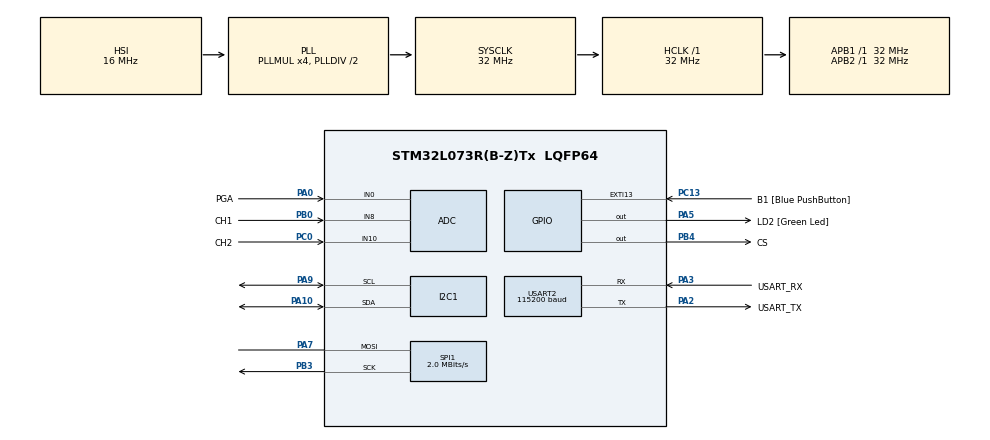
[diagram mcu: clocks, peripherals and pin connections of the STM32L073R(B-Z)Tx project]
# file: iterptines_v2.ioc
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ADC.DMAContinuousRequests=ENABLE
ADC.EOCSelection=ADC_EOC_SEQ_CONV
ADC.ExternalTrigConv=ADC_EXTERNALTRIGCONV_T2_TRGO
ADC.SamplingTime=ADC_SAMPLETIME_7CYCLES_5
Dma.ADC.0.Direction=DMA_PERIPH_TO_MEMORY
Dma.ADC.0.Instance=DMA1_Channel1
Dma.ADC.0.MemDataAlignment=DMA_MDATAALIGN_HALFWORD
Dma.ADC.0.MemInc=DMA_MINC_ENABLE
Dma.ADC.0.Mode=DMA_CIRCULAR
Dma.ADC.0.PeriphDataAlignment=DMA_PDATAALIGN_HALFWORD
Dma.ADC.0.PeriphInc=DMA_PINC_DISABLE
Dma.ADC.0.Priority=DMA_PRIORITY_LOW
Dma.Request0=ADC
I2C1.Timing=0x00B07CB4
Mcu.Family=STM32L0
Mcu.Name=STM32L073R(B-Z)Tx
Mcu.Package=LQFP64
NVIC.DMA1_Channel1_IRQn=true\:0\:0\:false\:false\:true\:false\:true\:true
NVIC.SPI1_IRQn=true\:0\:0\:false\:false\:true\:true\:true\:true
NVIC.TIM2_IRQn=true\:0\:0\:false\:false\:true\:true\:true\:true
NVIC.USART2_IRQn=true\:0\:0\:false\:false\:true\:true\:true\:true
PA0.GPIO_Label=PGA
PA0.Mode=IN0
PA0.Signal=ADC_IN0
PA10.Mode=I2C
PA10.Signal=I2C1_SDA
PA13.GPIO_Label=TMS
PA13.Mode=Serial_Wire
PA13.Signal=SYS_SWDIO
PA14.GPIO_Label=TCK
PA14.Mode=Serial_Wire
PA14.Signal=SYS_SWCLK
PA2.GPIO_Label=USART_TX
PA2.Mode=Asynchronous
PA2.Signal=USART2_TX
PA3.GPIO_Label=USART_RX
PA3.Mode=Asynchronous
PA3.Signal=USART2_RX
PA5.GPIO_Label=LD2 [Green Led]
PA5.Signal=GPIO_Output
PA7.Mode=Simplex_Bidirectional_Master
PA7.Signal=SPI1_MOSI
PA9.Mode=I2C
PA9.Signal=I2C1_SCL
PB0.GPIO_Label=CH1
PB0.Mode=IN8
PB0.Signal=ADC_IN8
PB3.Mode=Simplex_Bidirectional_Master
PB3.Signal=SPI1_SCK
PB4.GPIO_Label=CS
PB4.Signal=GPIO_Output
PC0.GPIO_Label=CH2
PC0.Mode=IN10
PC0.Signal=ADC_IN10
PC13.GPIO_Label=B1 [Blue PushButton]
PC13.GPIO_ModeDefaultEXTI=GPIO_MODE_IT_FALLING
PC13.Signal=GPXTI13
PC14-OSC32_IN.Signal=RCC_OSC32_IN
PC15-OSC32_OUT.Signal=RCC_OSC32_OUT
PH0-OSC_IN.GPIO_Label=MCO
PH0-OSC_IN.Signal=RCC_OSC_IN
ProjectManager.HeapSize=0x200
ProjectManager.StackSize=0x400
ProjectManager.TargetToolchain=STM32CubeIDE
RCC.AHBFreq_Value=32000000
RCC.APB1Freq_Value=32000000
RCC.APB1TimFreq_Value=32000000
RCC.APB2Freq_Value=32000000
RCC.APB2TimFreq_Value=32000000
RCC.HCLKFreq_Value=32000000
RCC.HSE_VALUE=8000000
RCC.HSI16_VALUE=16000000
RCC.HSI48_VALUE=48000000
RCC.HSI_VALUE=16000000
RCC.LSE_VALUE=32768
RCC.MSI_VALUE=2097000
RCC.PLLMUL=RCC_PLLMUL_4
RCC.SYSCLKFreq_VALUE=32000000
RCC.SYSCLKSource=RCC_SYSCLKSOURCE_PLLCLK
RCC.VCOOutputFreq_Value=64000000
SPI1.BaudRatePrescaler=SPI_BAUDRATEPRESCALER_16
SPI1.CalculateBaudRate=2.0 MBits/s
SPI1.DataSize=SPI_DATASIZE_16BIT
SPI1.Direction=SPI_DIRECTION_1LINE
SPI1.Mode=SPI_MODE_MASTER
SPI1.VirtualType=VM_MASTER
TIM2.AutoReloadPreload=TIM_AUTORELOAD_PRELOAD_ENABLE
TIM2.Prescaler=1
TIM2.TIM_MasterOutputTrigger=TIM_TRGO_UPDATE
USART2.BaudRate=115200
USART2.VirtualMode-Asynchronous=VM_ASYNC
VP_TIM2_VS_ClockSourceINT.Mode=Internal
board=NUCLEO-L073RZ

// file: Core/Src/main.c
/* USER CODE BEGIN Header */
/**
  ******************************************************************************
  * @file           : main.c
  * @brief          : Main program body
  ******************************************************************************
  */
/* USER CODE END Header */
#include "main.h"

/* USER CODE BEGIN Includes */
#include "ssd1306.h"
#include "ssd1306_fonts.h"
#include <stdio.h>
#include <string.h>
#include <stdlib.h>
/* USER CODE END Includes */

/* USER CODE BEGIN PD */
#define SAMPLES     50
#define CHANNELS    3
#define VDD         3.21f
#define COEF        374917UL
#define R_SENSOR    4700.0f

#define AGC_LOW     410U    /* ~10 % skales – stiprinamas labiau   */
#define AGC_HIGH    3686U   /* ~90 % skales – stiprinamas mažiau   */

static const float gain_table[8] = {
    1.0f, 2.0f, 4.0f, 5.0f, 8.0f, 10.0f, 16.0f, 32.0f
};
/* USER CODE END PD */

ADC_HandleTypeDef hadc;
DMA_HandleTypeDef hdma_adc;

I2C_HandleTypeDef hi2c1;

SPI_HandleTypeDef hspi1;

TIM_HandleTypeDef htim2;

UART_HandleTypeDef huart2;

/* USER CODE BEGIN PV */

volatile uint16_t adc[CHANNELS * SAMPLES];

float vidurkis_ev1 = 0.0f;   /* apsviestumo kanalas 1 [lx]  */
float vidurkis_ev2 = 0.0f;   /* apsviestumo kanalas 2 [lx]  */
float skirtumas    = 0.0f;   /* ev1 - ev2 [lx]              */
float vidurkis_u1  = 0.0f;   /* itampos kanalas 1 [V]       */
float vidurkis_u2  = 0.0f;   /* itampos kanalas 2 [V]       */

float calib1 = 11.0f;
float calib2 = 11.0f;

volatile uint8_t adc_full      = 0;
volatile uint8_t uart_ready    = 1;
volatile uint8_t uart_received = 0;

typedef enum {
    UART_STATE_IDLE = 0,
    UART_STATE_WAIT_C1,
    UART_STATE_WAIT_C2
} UartState;
volatile UartState uart_state = UART_STATE_IDLE;

char tx[80];
char rx[20];
char string_display[22];

static uint8_t pga_active_ch = 0;   /* 0 = U1, 1 = U2 */

static uint8_t gain_idx_u1 = 0;   /* pradzia: 1x */
static uint8_t gain_idx_u2 = 0;   /* pradzia: 1x */

/* --- AGC: praleisti N ciklu po kanalo perjungimo ---
       > 0  = dar laukiame stabilizacijos (MCP6S22 isejimas dar nestabilizavosi)
       = 0  = duomenys galioja                                                   */
static uint8_t pga_skip_cycle = 0;

/* --- UART ciklo skaitliukas:
       uart_cycle = 0..4  -> apsviestumo eilute  (~200 ms x 5 = ~1 s)
       uart_cycle = 5     -> itampos eilute       (~1.2 s), tada reset i 0      */
static uint8_t uart_cycle = 0;

/* USER CODE END PV */

void SystemClock_Config(void);
static void MX_GPIO_Init(void);
static void MX_DMA_Init(void);
static void MX_USART2_UART_Init(void);
static void MX_I2C1_Init(void);
static void MX_SPI1_Init(void);
static void MX_ADC_Init(void);
static void MX_TIM2_Init(void);
/* USER CODE BEGIN PFP */
static void PGA_SetChannel(uint8_t ch);
static void PGA_SetGain(uint8_t gain_idx);
static void Display_Update(void);
static void UART_SendLight(void);
static void UART_SendVoltage(void);
/* USER CODE END PFP */

/* USER CODE BEGIN 0 */

static void PGA_SetChannel(uint8_t ch)
{
    uint16_t cmd = ((uint16_t)0x41 << 8) | (ch & 0x07);
    HAL_GPIO_WritePin(CS_GPIO_Port, CS_Pin, GPIO_PIN_RESET);
    HAL_SPI_Transmit(&hspi1, (uint8_t *)&cmd, 1, 10);
    HAL_GPIO_WritePin(CS_GPIO_Port, CS_Pin, GPIO_PIN_SET);
}

static void PGA_SetGain(uint8_t gain_idx)
{
    uint16_t cmd = ((uint16_t)0x40 << 8) | (gain_idx & 0x07);
    HAL_GPIO_WritePin(CS_GPIO_Port, CS_Pin, GPIO_PIN_RESET);
    HAL_SPI_Transmit(&hspi1, (uint8_t *)&cmd, 1, 10);
    HAL_GPIO_WritePin(CS_GPIO_Port, CS_Pin, GPIO_PIN_SET);
}

/**
 * @brief  Atnaujina OLED ekrana.
 */
static void Display_Update(void)
{
    ssd1306_Fill(Black);

    ssd1306_SetCursor(0, 0);
    snprintf(string_display, sizeof(string_display), "Ev1 = %7.1f lx", vidurkis_ev1);
    ssd1306_WriteString(string_display, Font_6x8, White);

    ssd1306_SetCursor(0, 11);
    snprintf(string_display, sizeof(string_display), "Ev2 = %7.1f lx", vidurkis_ev2);
    ssd1306_WriteString(string_display, Font_6x8, White);

    ssd1306_SetCursor(0, 22);
    snprintf(string_display, sizeof(string_display), "dEv = %7.1f lx", skirtumas);
    ssd1306_WriteString(string_display, Font_6x8, White);

    ssd1306_SetCursor(0, 33);
    snprintf(string_display, sizeof(string_display), "U1  = %7.2f V ", vidurkis_u1);
    ssd1306_WriteString(string_display, Font_6x8, White);

    ssd1306_SetCursor(0, 44);
    snprintf(string_display, sizeof(string_display), "U2  = %7.2f V ", vidurkis_u2);
    ssd1306_WriteString(string_display, Font_6x8, White);

    ssd1306_UpdateScreen();
}

/**
 * @brief  Siuncia apsviestumo duomenis per UART (kas ~0.2 s).
 *         Viena eilute: Ev1, Ev2, dEv.
 */
static void UART_SendLight(void)
{
    if (!uart_ready) return;
    uart_ready = 0;
    int len = snprintf(tx, sizeof(tx),
        "Ev1 = %.1f lx, Ev2 = %.1f lx, dEv = %.1f lx\r\n",
        vidurkis_ev1, vidurkis_ev2, skirtumas);
    HAL_UART_Transmit_IT(&huart2, (uint8_t *)tx, (uint16_t)len);
}

/**
 * @brief  Siuncia itampos duomenis per UART (kas ~1.2 s).
 *         Viena eilute: U1, U2.
 */
static void UART_SendVoltage(void)
{
    if (!uart_ready) return;
    uart_ready = 0;
    int len = snprintf(tx, sizeof(tx),
        "                                                    U1 = %.2f V,  U2 = %.2f V\r\n",
        vidurkis_u1, vidurkis_u2);
    HAL_UART_Transmit_IT(&huart2, (uint8_t *)tx, (uint16_t)len);
}

/* USER CODE END 0 */

int main(void)
{

  /* MCU Configuration--------------------------------------------------------*/

  /* Reset of all peripherals, Initializes the Flash interface and the Systick. */
  HAL_Init();

  /* Configure the system clock */
  SystemClock_Config();

  /* Initialize all configured peripherals */
  MX_GPIO_Init();
  MX_DMA_Init();
  MX_USART2_UART_Init();
  MX_I2C1_Init();
  MX_SPI1_Init();
  MX_ADC_Init();
  MX_TIM2_Init();
  /* USER CODE BEGIN 2 */

    HAL_GPIO_WritePin(CS_GPIO_Port, CS_Pin, GPIO_PIN_SET);

    /* MCP6S22 pradine konfiguracija: kanalas 0 (U1), stiprinimas 1x.*/
    PGA_SetGain(0);
    PGA_SetChannel(0);
    pga_active_ch  = 0;
    pga_skip_cycle = 2;   /* Leisti stabilizuotis po pradines konfiguracijos */

    if (HAL_ADCEx_Calibration_Start(&hadc, ADC_SINGLE_ENDED) != HAL_OK)
        Error_Handler();

    HAL_ADC_Start_DMA(&hadc, (uint32_t *)adc, SAMPLES * CHANNELS);
    HAL_TIM_Base_Start(&htim2);

    ssd1306_Init();
    ssd1306_Fill(Black);
    ssd1306_SetCursor(10, 24);
    ssd1306_WriteString("Duomenys", Font_7x10, White);
    ssd1306_SetCursor(10, 36);
    ssd1306_WriteString("renkami...", Font_7x10, White);
    ssd1306_UpdateScreen();

    HAL_UART_Receive_IT(&huart2, (uint8_t *)rx, 6);

  /* USER CODE END 2 */

  /* Infinite loop */
  /* USER CODE BEGIN WHILE */

    uint32_t tick_display = 0;

    while (1)
    {
        if (uart_received)
        {
            uart_received = 0;

            switch (uart_state)
            {
                case UART_STATE_IDLE:
                {
                    if (strncmp(rx, "config", 6) == 0)
                    {
                        uart_state = UART_STATE_WAIT_C1;
                        const char *prompt =
                            "\r\nIveskite Ev1 kalibravimo koeficienta (2 skaitmenys, pvz. 15):\r\n";
                        HAL_UART_Transmit(&huart2, (uint8_t *)prompt,
                                          (uint16_t)strlen(prompt), 200);
                        HAL_UART_Receive_IT(&huart2, (uint8_t *)rx, 2);
                    }
                    else
                    {
                        memset(rx, 0, sizeof(rx));
                        HAL_UART_Receive_IT(&huart2, (uint8_t *)rx, 6);
                    }
                    break;
                }

                case UART_STATE_WAIT_C1:
                {
                    int val = 0;
                    if (rx[0] >= '0' && rx[0] <= '9' &&
                        rx[1] >= '0' && rx[1] <= '9')
                    {
                        val = (rx[0] - '0') * 10 + (rx[1] - '0');
                        calib1 = (float)val;
                    }
                    uart_state = UART_STATE_WAIT_C2;
                    const char *prompt2 =
                        "\r\nIveskite Ev2 kalibravimo koeficienta (2 skaitmenys):\r\n";
                    HAL_UART_Transmit(&huart2, (uint8_t *)prompt2,
                                      (uint16_t)strlen(prompt2), 200);
                    HAL_UART_Receive_IT(&huart2, (uint8_t *)rx, 2);
                    break;
                }

                case UART_STATE_WAIT_C2:
                {
                    int val = 0;
                    if (rx[0] >= '0' && rx[0] <= '9' &&
                        rx[1] >= '0' && rx[1] <= '9')
                    {
                        val = (rx[0] - '0') * 10 + (rx[1] - '0');
                        calib2 = (float)val;
                    }
                    uart_state = UART_STATE_IDLE;
                    const char *done =
                        "\r\nKalibracija atlikta. Tesiamas matavimas.\r\n\r\n";
                    HAL_UART_Transmit(&huart2, (uint8_t *)done,
                                      (uint16_t)strlen(done), 200);
                    memset(rx, 0, sizeof(rx));
                    HAL_UART_Receive_IT(&huart2, (uint8_t *)rx, 6);
                    break;
                }

                default:
                    uart_state = UART_STATE_IDLE;
                    HAL_UART_Receive_IT(&huart2, (uint8_t *)rx, 6);
                    break;
            }
        }

        if (adc_full)
        {
            adc_full = 0;

            uint32_t suma_ev1 = 0, suma_ev2 = 0;
            for (int i = 0; i < SAMPLES * CHANNELS; i += 3)
            {
                suma_ev1 += adc[i + 1];
                suma_ev2 += adc[i + 2];
            }
            float avg_ev1_raw = (float)suma_ev1 / SAMPLES;
            float avg_ev2_raw = (float)suma_ev2 / SAMPLES;

            vidurkis_ev1 = (avg_ev1_raw * VDD / 4095.0f) / R_SENSOR * (float)COEF * calib1;
            vidurkis_ev2 = (avg_ev2_raw * VDD / 4095.0f) / R_SENSOR * (float)COEF * calib2;
            skirtumas    = vidurkis_ev1 - vidurkis_ev2;

            const float VOLTAGE_DIV = 7.788f;

            uint32_t suma_u = 0;
            for (int i = 0; i < SAMPLES * CHANNELS; i += 3)
                suma_u += adc[i];

            uint32_t avg_u_raw = suma_u / SAMPLES;

            if (pga_skip_cycle > 0)
            {
                /* Stabilizacijos laukimas */
                pga_skip_cycle--;
            }
            else
            {
                uint8_t *p_gain = (pga_active_ch == 0) ? &gain_idx_u1 : &gain_idx_u2;
                uint8_t gain_changed = 0;

                if (avg_u_raw < AGC_LOW && *p_gain < 7)
                {
                    (*p_gain)++;
                    gain_changed = 1;
                }
                else if (avg_u_raw > AGC_HIGH && *p_gain > 0)
                {
                    (*p_gain)--;
                    gain_changed = 1;
                }

                if (gain_changed)
                {
                    /* Stiprinimas pasikeite – reikia 1 ciklo stabilizacijai.
                       Šio ciklo rezultato neissaugome. */
                    PGA_SetGain(*p_gain);
                    pga_skip_cycle = 1;
                }
                else
                {
                    float v_adc  = (float)avg_u_raw * VDD / 4095.0f;
                    float v_real = (v_adc / gain_table[*p_gain]) * VOLTAGE_DIV;

                    if (pga_active_ch == 0)
                        vidurkis_u1 = v_real;
                    else
                        vidurkis_u2 = v_real;

                    pga_active_ch ^= 1;
                    PGA_SetGain((pga_active_ch == 0) ? gain_idx_u1 : gain_idx_u2);
                    PGA_SetChannel(pga_active_ch);
                    pga_skip_cycle = 2;
                }
            }

            if (uart_state == UART_STATE_IDLE)
            {
                if (uart_cycle < 5)
                {
                    UART_SendLight();
                    uart_cycle++;
                }
                else
                {
                    UART_SendVoltage();
                    uart_cycle = 0;
                }
            }
        }

        if ((HAL_GetTick() - tick_display) >= 2000UL)
        {
            tick_display = HAL_GetTick();
            Display_Update();
        }

    /* USER CODE END WHILE */

    }
}

void SystemClock_Config(void)
{
  RCC_OscInitTypeDef RCC_OscInitStruct = {0};
  RCC_ClkInitTypeDef RCC_ClkInitStruct = {0};
  RCC_PeriphCLKInitTypeDef PeriphClkInit = {0};

  /** Configure the main internal regulator output voltage
  */
  __HAL_PWR_VOLTAGESCALING_CONFIG(PWR_REGULATOR_VOLTAGE_SCALE1);

  /** Initializes the RCC Oscillators according to the specified parameters
  * in the RCC_OscInitTypeDef structure.
  */
  RCC_OscInitStruct.OscillatorType = RCC_OSCILLATORTYPE_HSI;
  RCC_OscInitStruct.HSIState = RCC_HSI_ON;
  RCC_OscInitStruct.HSICalibrationValue = RCC_HSICALIBRATION_DEFAULT;
  RCC_OscInitStruct.PLL.PLLState = RCC_PLL_ON;
  RCC_OscInitStruct.PLL.PLLSource = RCC_PLLSOURCE_HSI;
  RCC_OscInitStruct.PLL.PLLMUL = RCC_PLLMUL_4;
  RCC_OscInitStruct.PLL.PLLDIV = RCC_PLLDIV_2;
  if (HAL_RCC_OscConfig(&RCC_OscInitStruct) != HAL_OK)
  {
    Error_Handler();
  }

  /** Initializes the CPU, AHB and APB buses clocks
  */
  RCC_ClkInitStruct.ClockType = RCC_CLOCKTYPE_HCLK|RCC_CLOCKTYPE_SYSCLK
                              |RCC_CLOCKTYPE_PCLK1|RCC_CLOCKTYPE_PCLK2;
  RCC_ClkInitStruct.SYSCLKSource = RCC_SYSCLKSOURCE_PLLCLK;
  RCC_ClkInitStruct.AHBCLKDivider = RCC_SYSCLK_DIV1;
  RCC_ClkInitStruct.APB1CLKDivider = RCC_HCLK_DIV1;
  RCC_ClkInitStruct.APB2CLKDivider = RCC_HCLK_DIV1;

  if (HAL_RCC_ClockConfig(&RCC_ClkInitStruct, FLASH_LATENCY_1) != HAL_OK)
  {
    Error_Handler();
  }
  PeriphClkInit.PeriphClockSelection = RCC_PERIPHCLK_USART2|RCC_PERIPHCLK_I2C1;
  PeriphClkInit.Usart2ClockSelection = RCC_USART2CLKSOURCE_PCLK1;
  PeriphClkInit.I2c1ClockSelection = RCC_I2C1CLKSOURCE_PCLK1;
  if (HAL_RCCEx_PeriphCLKConfig(&PeriphClkInit) != HAL_OK)
  {
    Error_Handler();
  }
}

static void MX_ADC_Init(void)
{

  ADC_ChannelConfTypeDef sConfig = {0};

  /** Configure the global features of the ADC (Clock, Resolution, Data Alignment and number of conversion)
  */
  hadc.Instance = ADC1;
  hadc.Init.OversamplingMode = DISABLE;
  hadc.Init.ClockPrescaler = ADC_CLOCK_SYNC_PCLK_DIV2;
  hadc.Init.Resolution = ADC_RESOLUTION_12B;
  hadc.Init.SamplingTime = ADC_SAMPLETIME_7CYCLES_5;
  hadc.Init.ScanConvMode = ADC_SCAN_DIRECTION_FORWARD;
  hadc.Init.DataAlign = ADC_DATAALIGN_RIGHT;
  hadc.Init.ContinuousConvMode = DISABLE;
  hadc.Init.DiscontinuousConvMode = DISABLE;
  hadc.Init.ExternalTrigConvEdge = ADC_EXTERNALTRIGCONVEDGE_RISING;
  hadc.Init.ExternalTrigConv = ADC_EXTERNALTRIGCONV_T2_TRGO;
  hadc.Init.DMAContinuousRequests = ENABLE;
  hadc.Init.EOCSelection = ADC_EOC_SEQ_CONV;
  hadc.Init.Overrun = ADC_OVR_DATA_PRESERVED;
  hadc.Init.LowPowerAutoWait = DISABLE;
  hadc.Init.LowPowerFrequencyMode = DISABLE;
  hadc.Init.LowPowerAutoPowerOff = DISABLE;
  if (HAL_ADC_Init(&hadc) != HAL_OK)
  {
    Error_Handler();
  }

  /** Configure for the selected ADC regular channel to be converted.
  */
  sConfig.Channel = ADC_CHANNEL_0;
  sConfig.Rank = ADC_RANK_CHANNEL_NUMBER;
  if (HAL_ADC_ConfigChannel(&hadc, &sConfig) != HAL_OK)
  {
    Error_Handler();
  }

  /** Configure for the selected ADC regular channel to be converted.
  */
  sConfig.Channel = ADC_CHANNEL_8;
  if (HAL_ADC_ConfigChannel(&hadc, &sConfig) != HAL_OK)
  {
    Error_Handler();
  }

  /** Configure for the selected ADC regular channel to be converted.
  */
  sConfig.Channel = ADC_CHANNEL_10;
  if (HAL_ADC_ConfigChannel(&hadc, &sConfig) != HAL_OK)
  {
    Error_Handler();
  }

}

static void MX_I2C1_Init(void)
{

  hi2c1.Instance = I2C1;
  hi2c1.Init.Timing = 0x00B07CB4;
  hi2c1.Init.OwnAddress1 = 0;
  hi2c1.Init.AddressingMode = I2C_ADDRESSINGMODE_7BIT;
  hi2c1.Init.DualAddressMode = I2C_DUALADDRESS_DISABLE;
  hi2c1.Init.OwnAddress2 = 0;
  hi2c1.Init.OwnAddress2Masks = I2C_OA2_NOMASK;
  hi2c1.Init.GeneralCallMode = I2C_GENERALCALL_DISABLE;
  hi2c1.Init.NoStretchMode = I2C_NOSTRETCH_DISABLE;
  if (HAL_I2C_Init(&hi2c1) != HAL_OK)
  {
    Error_Handler();
  }

  /** Configure Analogue filter
  */
  if (HAL_I2CEx_ConfigAnalogFilter(&hi2c1, I2C_ANALOGFILTER_ENABLE) != HAL_OK)
  {
    Error_Handler();
  }

  /** Configure Digital filter
  */
  if (HAL_I2CEx_ConfigDigitalFilter(&hi2c1, 0) != HAL_OK)
  {
    Error_Handler();
  }

}

static void MX_SPI1_Init(void)
{

  /* SPI1 parameter configuration*/
  hspi1.Instance = SPI1;
  hspi1.Init.Mode = SPI_MODE_MASTER;
  hspi1.Init.Direction = SPI_DIRECTION_1LINE;
  hspi1.Init.DataSize = SPI_DATASIZE_16BIT;
  hspi1.Init.CLKPolarity = SPI_POLARITY_LOW;
  hspi1.Init.CLKPhase = SPI_PHASE_1EDGE;
  hspi1.Init.NSS = SPI_NSS_SOFT;
  hspi1.Init.BaudRatePrescaler = SPI_BAUDRATEPRESCALER_16;
  hspi1.Init.FirstBit = SPI_FIRSTBIT_MSB;
  hspi1.Init.TIMode = SPI_TIMODE_DISABLE;
  hspi1.Init.CRCCalculation = SPI_CRCCALCULATION_DISABLE;
  hspi1.Init.CRCPolynomial = 7;
  if (HAL_SPI_Init(&hspi1) != HAL_OK)
  {
    Error_Handler();
  }

}

static void MX_TIM2_Init(void)
{

  TIM_ClockConfigTypeDef sClockSourceConfig = {0};
  TIM_MasterConfigTypeDef sMasterConfig = {0};

  htim2.Instance = TIM2;
  htim2.Init.Prescaler = 1;
  htim2.Init.CounterMode = TIM_COUNTERMODE_UP;
  htim2.Init.Period = 65535;
  htim2.Init.ClockDivision = TIM_CLOCKDIVISION_DIV1;
  htim2.Init.AutoReloadPreload = TIM_AUTORELOAD_PRELOAD_ENABLE;
  if (HAL_TIM_Base_Init(&htim2) != HAL_OK)
  {
    Error_Handler();
  }
  sClockSourceConfig.ClockSource = TIM_CLOCKSOURCE_INTERNAL;
  if (HAL_TIM_ConfigClockSource(&htim2, &sClockSourceConfig) != HAL_OK)
  {
    Error_Handler();
  }
  sMasterConfig.MasterOutputTrigger = TIM_TRGO_UPDATE;
  sMasterConfig.MasterSlaveMode = TIM_MASTERSLAVEMODE_DISABLE;
  if (HAL_TIMEx_MasterConfigSynchronization(&htim2, &sMasterConfig) != HAL_OK)
  {
    Error_Handler();
  }

}

static void MX_USART2_UART_Init(void)
{

  huart2.Instance = USART2;
  huart2.Init.BaudRate = 115200;
  huart2.Init.WordLength = UART_WORDLENGTH_8B;
  huart2.Init.StopBits = UART_STOPBITS_1;
  huart2.Init.Parity = UART_PARITY_NONE;
  huart2.Init.Mode = UART_MODE_TX_RX;
  huart2.Init.HwFlowCtl = UART_HWCONTROL_NONE;
  huart2.Init.OverSampling = UART_OVERSAMPLING_16;
  huart2.Init.OneBitSampling = UART_ONE_BIT_SAMPLE_DISABLE;
  huart2.AdvancedInit.AdvFeatureInit = UART_ADVFEATURE_NO_INIT;
  if (HAL_UART_Init(&huart2) != HAL_OK)
  {
    Error_Handler();
  }

}

static void MX_DMA_Init(void)
{

  /* DMA controller clock enable */
  __HAL_RCC_DMA1_CLK_ENABLE();

  /* DMA interrupt init */
  /* DMA1_Channel1_IRQn interrupt configuration */
  HAL_NVIC_SetPriority(DMA1_Channel1_IRQn, 0, 0);
  HAL_NVIC_EnableIRQ(DMA1_Channel1_IRQn);

}

static void MX_GPIO_Init(void)
{
  GPIO_InitTypeDef GPIO_InitStruct = {0};

  /* GPIO Ports Clock Enable */
  __HAL_RCC_GPIOC_CLK_ENABLE();
  __HAL_RCC_GPIOH_CLK_ENABLE();
  __HAL_RCC_GPIOA_CLK_ENABLE();
  __HAL_RCC_GPIOB_CLK_ENABLE();

  /*Configure GPIO pin Output Level */
  HAL_GPIO_WritePin(LD2_GPIO_Port, LD2_Pin, GPIO_PIN_RESET);

  /*Configure GPIO pin Output Level */
  HAL_GPIO_WritePin(CS_GPIO_Port, CS_Pin, GPIO_PIN_RESET);

  /*Configure GPIO pin : B1_Pin */
  GPIO_InitStruct.Pin = B1_Pin;
  GPIO_InitStruct.Mode = GPIO_MODE_IT_FALLING;
  GPIO_InitStruct.Pull = GPIO_NOPULL;
  HAL_GPIO_Init(B1_GPIO_Port, &GPIO_InitStruct);

  /*Configure GPIO pin : LD2_Pin */
  GPIO_InitStruct.Pin = LD2_Pin;
  GPIO_InitStruct.Mode = GPIO_MODE_OUTPUT_PP;
  GPIO_InitStruct.Pull = GPIO_NOPULL;
  GPIO_InitStruct.Speed = GPIO_SPEED_FREQ_LOW;
  HAL_GPIO_Init(LD2_GPIO_Port, &GPIO_InitStruct);

  /*Configure GPIO pin : CS_Pin */
  GPIO_InitStruct.Pin = CS_Pin;
  GPIO_InitStruct.Mode = GPIO_MODE_OUTPUT_PP;
  GPIO_InitStruct.Pull = GPIO_NOPULL;
  GPIO_InitStruct.Speed = GPIO_SPEED_FREQ_LOW;
  HAL_GPIO_Init(CS_GPIO_Port, &GPIO_InitStruct);

}

/* USER CODE BEGIN 4 */

void HAL_ADC_ConvCpltCallback(ADC_HandleTypeDef *hadc_cb)
{
    (void)hadc_cb;
    adc_full = 1;
}

void HAL_UART_TxCpltCallback(UART_HandleTypeDef *huart_cb)
{
    (void)huart_cb;
    uart_ready = 1;
}

void HAL_UART_RxCpltCallback(UART_HandleTypeDef *huart_cb)
{
    (void)huart_cb;
    uart_received = 1;
}

/* USER CODE END 4 */

void Error_Handler(void)
{
  /* USER CODE BEGIN Error_Handler_Debug */
    __disable_irq();
    while (1)
    {
        HAL_GPIO_TogglePin(LD2_GPIO_Port, LD2_Pin);
        HAL_Delay(200);
    }
  /* USER CODE END Error_Handler_Debug */
}
